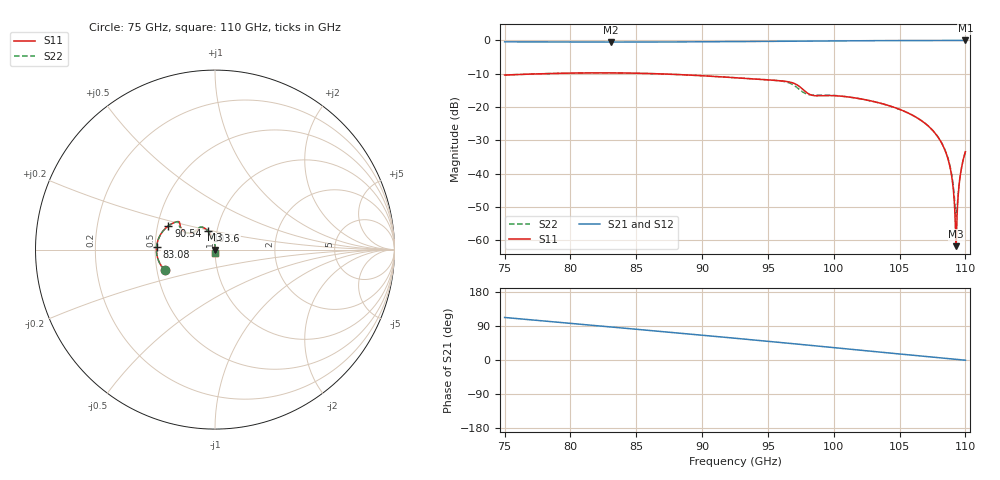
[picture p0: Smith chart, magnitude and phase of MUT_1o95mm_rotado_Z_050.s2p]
! TOUCHSTONE file generated by CST MICROWAVE STUDIO
! Date and time: Fri Feb 16 12:03:41 2024
! Project name: material_rotado.cst
! Parameters = {angX=0.5; angY=0.75}
! Header version: 2018
! Port assignment regex: !\s*Touchstone port\s*([0-9]+)\s*=\s*(CST MWS port|CST DS port)\s*([0-9]+|Zmin|Zmax)\s*\(\"(.*)\"\)(\s*mode\s*([0-9]+))?.*
! Touchstone port assignment:
! Touchstone port 1 = CST MWS port 1 ("")
! Touchstone port 2 = CST MWS port 2 ("")
# GHz S MA R 376.7
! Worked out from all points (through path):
!   1001 points, 75 GHz to 110 GHz, reference 376.7 ohm
!   highest |S21| = 0.00 dB at 110 GHz (marker M1); lowest = -0.5 dB at 83.08 GHz (marker M2)
!   group delay of S21, straight-line fit = 8.97 ps
!   lowest |S11| = -61.8 dB at 109.3 GHz (marker M3), VSWR 1.00, Z = 377 - j0.244 ohm
!   |S11| at or under -10 dB: start of sweep to 77.77 GHz; 86.61 GHz to end of sweep
!   |S22| runs from -52.8 to -9.7 dB; largest |S21 - S12| = 0
!   S11 on the Smith chart (normalised r, x): 75 GHz: 0.55, -0.14; 83.08 GHz: 0.51, +0.02; 90.54 GHz: 0.57, +0.16; 103.6 GHz: 0.90, +0.19; 110 GHz: 1.00, -0.04
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75  0.3028 -157.9  0.9531 112.2  0.9531 112.2  0.3028 -157.7
80.845  0.325 -175.1  0.9467 94.0  0.9467 94.0  0.3252 -175.1
83.085  0.3259 177.5  0.9459 87.1  0.9459 87.1  0.326 177.5
86.69  0.3158 165.4  0.9481 75.9  0.9481 75.9  0.3157 165.3
90.54  0.2915 153.0  0.9556 63.7  0.9556 63.7  0.2912 153.0
92.5  0.2758 147.4  0.9612 57.5  0.9612 57.5  0.2758 147.5
96.665  0.2371 145.2  0.9756 43.9  0.9756 43.9  0.2284 148.1
98.345  0.1506 139.2  0.9815 38.3  0.9815 38.3  0.1516 135.2
100.865  0.1437 119.7  0.9891 29.8  0.9891 29.8  0.144 119.8
103.56  0.1142 111.3  0.9947 20.7  0.9947 20.7  0.1138 111.3
104.19  0.1051 109.3  0.9956 18.6  0.9956 18.6  0.1048 109.2
106.57  0.06434 100.6  0.9978 10.7  0.9978 10.7  0.06439 100.2
108.04  0.03254 93.8  0.9986 5.8  0.9986 5.8  0.0328 92.1
108.46  0.02225 91.2  0.9988 4.4  0.9988 4.4  0.02256 88.3
108.775  0.01412 88.5  0.999 3.4  0.999 3.4  0.0145 83.5
108.985  0.008501 85.4  0.9991 2.7  0.9991 2.7  0.008986 76.8
109.16  0.00372 77.9  0.9992 2.2  0.9992 2.2  0.004485 60.0
109.3  0.0008166 -23.3  0.9993 1.7  0.9993 1.7  0.002289 -2.6
109.405  0.003409 -78.9  0.9994 1.4  0.9994 1.4  0.003872 -54.5
109.545  0.007458 -86.7  0.9995 0.9  0.9995 0.9  0.007587 -73.9
109.685  0.01163 -89.6  0.9996 0.5  0.9996 0.5  0.01166 -81.0
110  0.02135 -93.1  0.9998 -0.6  0.9998 -0.6  0.02135 -88.0
